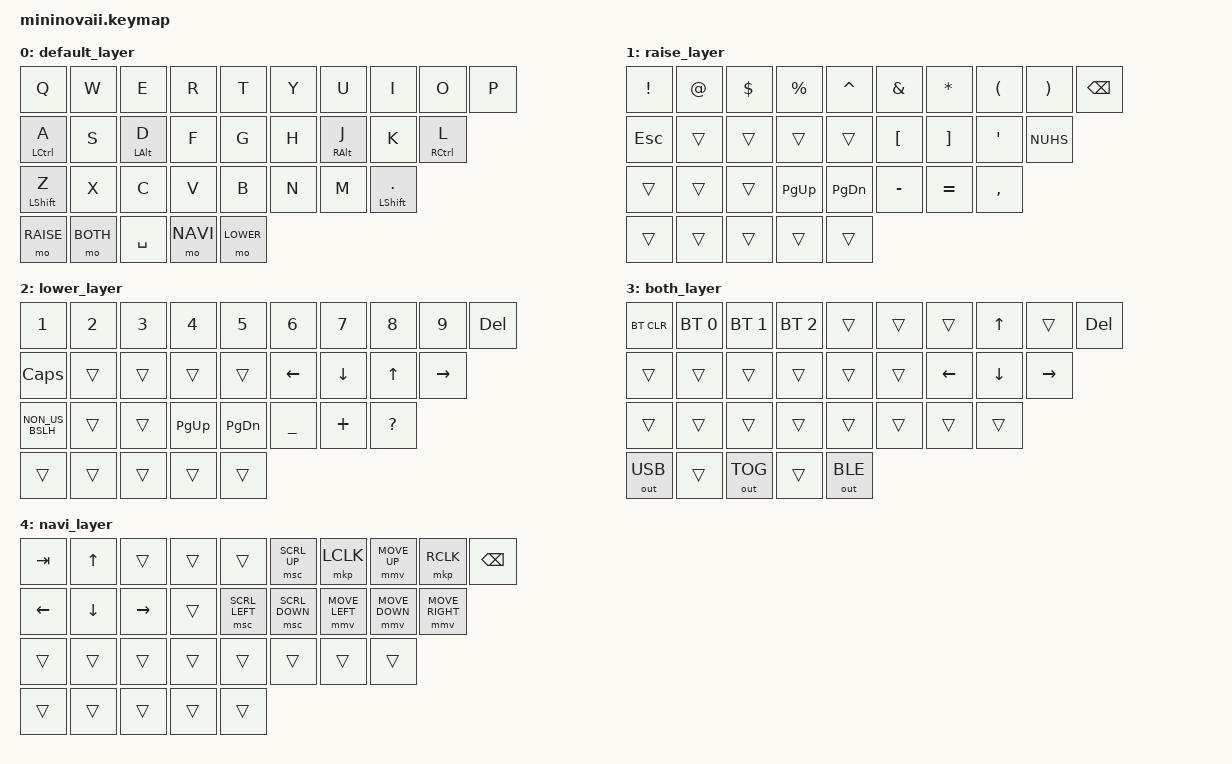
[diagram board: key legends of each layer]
/*
 * Copyright (c) 2021 The ZMK Contributors
 *
 * SPDX-License-Identifier: MIT
 */

#include <behaviors.dtsi>
#include <dt-bindings/zmk/keys.h>
#include <dt-bindings/zmk/bt.h>
#include <dt-bindings/zmk/outputs.h>
#include <dt-bindings/zmk/pointing.h>


#define DEFAULT  0
#define RAISE    1
#define LOWER    2
#define BOTH     3
#define NAVI     4

// -----------------------------------
// | TAB:TAB |    |    |    |    |   -:-  =:=  <:<   |   (< = bksp)
// | ESC:ESC |    |    |    |    |    |   #:#   |
// |    |    |    |    |    |    |    |    |
//           |    |    |         |    |    |

/ {
    combos {
        compatible = "zmk,combos";

        combo_tab {
            timeout-ms = <50>;
            key-positions = <0 1>;
            bindings = <&kp TAB>;
        };

        combo_esc {
            timeout-ms = <50>;
            key-positions = <10 11>;
            bindings = <&kp ESC>;
        };

        combo_dash {
            timeout-ms = <50>;
            key-positions = <6 7>;
            bindings = <&kp MINUS>;
        };

        combo_eq {
            timeout-ms = <50>;
            key-positions = <7 8>;
            bindings = <&kp EQUAL>;
        };

        combo_bksp {
            timeout-ms = <50>;
            key-positions = <8 9>;
            bindings = <&kp BSPC>;
        };

        combo_hash {
            timeout-ms = <50>;
            key-positions = <17 18>;
            bindings = <&kp NON_US_HASH>;
        };

    };
};

/ {
    keymap {
        compatible = "zmk,keymap";

        default_layer {
            bindings = <
    &kp Q      &kp W       &kp E      &kp R           &kp T      &kp Y     &kp U   &kp I     &kp O     &kp P
    &mt LCTRL A      &kp S       &mt LALT D      &kp F           &kp G      &kp H     &mt RALT J   &kp K     &mt RCTRL L
    &mt LSHIFT Z      &kp X       &kp C      &kp V           &kp B      &kp N     &kp M   &mt LSHIFT DOT
    &mo RAISE &mo BOTH  &kp SPACE  &mo NAVI &mo LOWER
            >;
        };

        raise_layer {
            bindings = <
    &kp EXCL    &kp AT    &kp DLLR     &kp PRCNT     &kp CARET     &kp AMPS  &kp ASTRK    &kp LPAR    &kp RPAR    &kp BSPC
    &kp ESC    &trans    &trans     &trans     &trans     &kp LBKT  &kp RBKT   &kp APOS    &kp NUHS
    &trans     &trans    &trans     &kp PG_UP  &kp PG_DN  &kp MINUS  &kp EQUAL    &kp COMMA
    &trans  &trans  &trans   &trans   &trans
            >;
        };

        lower_layer {
            bindings = <
    &kp N1          &kp N2    &kp N3   &kp N4     &kp N5     &kp N6    &kp N7    &kp N8    &kp N9    &kp DEL
    &kp CAPS        &trans    &trans   &trans     &trans     &kp LEFT  &kp DOWN  &kp UP    &kp RIGHT
    &kp NON_US_BSLH &trans    &trans   &kp PG_UP  &kp PG_DN  &kp UNDER    &kp PLUS    &kp QMARK
    &trans        &trans  &trans  &trans   &trans
            >;
        };

        both_layer {
            bindings = <
    &bt BT_CLR   &bt BT_SEL 0 &bt BT_SEL 1 &bt BT_SEL 2 &trans  &trans  &trans  &kp UP &trans &kp DEL
    &trans       &trans       &trans       &trans       &trans  &trans  &kp LEFT  &kp DOWN &kp RIGHT
    &trans       &trans       &trans       &trans       &trans  &trans  &trans  &trans
    &out OUT_USB &trans       &out OUT_TOG &trans       &out OUT_BLE
            >;
        };
         navi_layer {
            bindings = <
    &kp TAB    &kp UP    &trans     &trans     &trans     &msc SCRL_UP  &mkp LCLK    &mmv MOVE_UP    &mkp RCLK    &kp BSPC
    &kp LEFT    &kp DOWN    &kp RIGHT     &trans     &msc SCRL_LEFT     &msc SCRL_DOWN  &mmv MOVE_LEFT   &mmv MOVE_DOWN    &mmv MOVE_RIGHT
    &trans     &trans    &trans     &trans  &trans  &trans  &trans    &trans
    &trans  &trans  &trans   &trans   &trans
            >;
        };
    };
};
